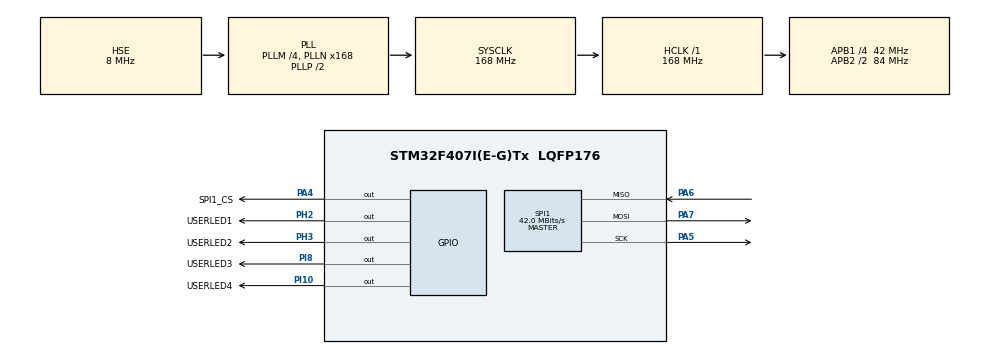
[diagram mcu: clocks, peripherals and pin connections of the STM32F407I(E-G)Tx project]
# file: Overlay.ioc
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Mcu.Family=STM32F4
Mcu.Name=STM32F407I(E-G)Tx
Mcu.Package=LQFP176
NVIC.PriorityGroup=NVIC_PRIORITYGROUP_4
PA13.Mode=Serial_Wire
PA13.Signal=SYS_JTMS-SWDIO
PA14.Mode=Serial_Wire
PA14.Signal=SYS_JTCK-SWCLK
PA4.GPIO_Label=SPI1_CS
PA4.PinState=GPIO_PIN_SET
PA4.Signal=GPIO_Output
PA5.Mode=Full_Duplex_Master
PA5.Signal=SPI1_SCK
PA6.Mode=Full_Duplex_Master
PA6.Signal=SPI1_MISO
PA7.Mode=Full_Duplex_Master
PA7.Signal=SPI1_MOSI
PH0-OSC_IN.Mode=HSE-External-Oscillator
PH0-OSC_IN.Signal=RCC_OSC_IN
PH1-OSC_OUT.Mode=HSE-External-Oscillator
PH1-OSC_OUT.Signal=RCC_OSC_OUT
PH2.GPIO_Label=USERLED1
PH2.Signal=GPIO_Output
PH3.GPIO_Label=USERLED2
PH3.Signal=GPIO_Output
PI10.GPIO_Label=USERLED4
PI10.Signal=GPIO_Output
PI8-\ ANTI\ TAMP2.GPIO_Label=USERLED3
PI8-\ ANTI\ TAMP2.Signal=GPIO_Output
ProjectManager.HeapSize=0x200
ProjectManager.StackSize=0x400
ProjectManager.TargetToolchain=Makefile
RCC.48MHZClocksFreq_Value=84000000
RCC.AHBFreq_Value=168000000
RCC.APB1CLKDivider=RCC_HCLK_DIV4
RCC.APB1Freq_Value=42000000
RCC.APB1TimFreq_Value=84000000
RCC.APB2CLKDivider=RCC_HCLK_DIV2
RCC.APB2Freq_Value=84000000
RCC.APB2TimFreq_Value=168000000
RCC.CortexFreq_Value=168000000
RCC.HCLKFreq_Value=168000000
RCC.HSE_VALUE=8000000
RCC.HSI_VALUE=16000000
RCC.LSE_VALUE=32768
RCC.PLLM=4
RCC.PLLN=168
RCC.PLLSourceVirtual=RCC_PLLSOURCE_HSE
RCC.SYSCLKFreq_VALUE=168000000
RCC.SYSCLKSource=RCC_SYSCLKSOURCE_PLLCLK
RCC.VCOOutputFreq_Value=336000000
SPI1.CalculateBaudRate=42.0 MBits/s
SPI1.Direction=SPI_DIRECTION_2LINES
SPI1.Mode=SPI_MODE_MASTER
SPI1.VirtualType=VM_MASTER
board=custom

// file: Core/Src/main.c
/* USER CODE BEGIN Header */
/**
  ******************************************************************************
  * @file           : main.c
  * @brief          : Main program body
  ******************************************************************************
  * @attention
  *
  * Copyright (c) 2025 STMicroelectronics.
  * All rights reserved.
  *
  * This software is licensed under terms that can be found in the LICENSE file
  * in the root directory of this software component.
  * If no LICENSE file comes with this software, it is provided AS-IS.
  *
  ******************************************************************************
  */
/* USER CODE END Header */
#include "main.h"
#include "spi.h"
#include "gpio.h"

/* USER CODE BEGIN Includes */
#include <stddef.h>
#include <string.h>

#include "../../AT45DBxx/AT45DBxx.h"
/* USER CODE END Includes */

void SystemClock_Config(void);
/* USER CODE BEGIN PFP */
typedef enum {
  ERR_RD_ID = 0,
  ERR_GT_ADDR,
  ERR_WR,
  ERR_RD
} error_t;

#define N_REGIONS	1	// # of overlay regions in RAM
#define N_OVLY		4	// Total # of overlays (in all regions)

#define OVERLAY(region,ov,sym)	{ region, &ov, &__load_start_ ## sym, &__load_stop_ ## sym, 0, sym }
#define LOADREF(sym) __load_start_ ## sym, __load_stop_ ## sym

extern unsigned long overlay1;	// Provides address of overlay region 1

// Function load addresses
extern char LOADREF(fee), LOADREF(fie), LOADREF(foo), LOADREF(fum);

/*********************************************************************
 * Overlayed functions
 *********************************************************************/
 int fee(int arg) __attribute__((noinline,section(".ov_fee")));
 int fie(int arg) __attribute__((noinline,section(".ov_fie")));
 int foo(int arg) __attribute__((noinline,section(".ov_foo")));
 int fum(int arg) __attribute__((noinline,section(".ov_fum")));

/*********************************************************************
 * Overlay Table and macros
 *********************************************************************/

 typedef struct {
	short		regionx;// Overlay region index
	void		*vma;	// Overlay's mapped address
	char		*start;	// Load start address
	char		*stop;	// Load stop address
	unsigned long	size;	// Size in bytes
	void		*func;	// Function pointer
} s_overlay;

// Overlay table:
static s_overlay overlays[N_OVLY] = {
	OVERLAY(0, overlay1, fee),
	OVERLAY(0, overlay1, fie),
	OVERLAY(0, overlay1, foo),
	OVERLAY(0, overlay1, fum)
};

// Overlay cache:
static s_overlay *cur_overlay[N_REGIONS] = { 0 };

/*********************************************************************
 * Overlay lookup: Returns func ptr, after copying code if necessary
 *********************************************************************/

static void *module_lookup (void *module) {
	unsigned regionx;
	s_overlay *ovl = 0;

	// std_printf("module_lookup(%p):\n",module);

	for ( unsigned ux=0; ux<N_OVLY; ++ux ) {
		if ( overlays[ux].start == module ) {
			regionx = overlays[ux].regionx;
			ovl = &overlays[ux];
			break;
		}
	}

	if ( !ovl )
		return 0;		// Not found

	if ( !cur_overlay[regionx] || cur_overlay[regionx] != ovl ) {
		if ( ovl->size == 0 )
			ovl->size = (char *)ovl->stop - (char *)ovl->start;
		cur_overlay[regionx] = ovl;
		memcpy(ovl->vma,ovl->start,ovl->size);
	}
	return ovl->func;
}

/* USER CODE END PFP */

/* USER CODE BEGIN 0 */
void error_handler (error_t err)
{
  const error_t error = err;
  UNUSED (error);
  HAL_GPIO_WritePin (USERLED1_GPIO_Port, USERLED1_Pin, GPIO_PIN_SET);
  HAL_GPIO_WritePin (USERLED2_GPIO_Port, USERLED2_Pin, GPIO_PIN_RESET);
  HAL_GPIO_WritePin (USERLED3_GPIO_Port, USERLED3_Pin, GPIO_PIN_SET);
  HAL_GPIO_WritePin (USERLED4_GPIO_Port, USERLED4_Pin, GPIO_PIN_RESET);
  while (1) {

  }
}
/* USER CODE END 0 */

int main(void)
{

  /* MCU Configuration--------------------------------------------------------*/

  /* Reset of all peripherals, Initializes the Flash interface and the Systick. */
  HAL_Init();

  /* Configure the system clock */
  SystemClock_Config();

  /* Initialize all configured peripherals */
  MX_GPIO_Init();
  MX_SPI1_Init();
  /* USER CODE BEGIN 2 */

  // Initialized
  at45dbxx_init (&hspi1, SPI1_CS_GPIO_Port, SPI1_CS_Pin);

  // Read ID
  const size_t id_num = 5;
  uint8_t at45dbxx_id[id_num];
  memset (at45dbxx_id, 0, id_num);

  if (!at45dbxx_rd_id (at45dbxx_id, id_num))
    error_handler (ERR_RD_ID);

  HAL_Delay (500);

  uint8_t tx_test_message[] = "Test message";
  const size_t len_message = sizeof (tx_test_message);
  uint8_t rx_test_message[len_message];
  memset (rx_test_message, 0, len_message);

  at45dbxx_config_t at45dbxx_config_wr = { .opcode = AT45DBXX_OPCODE_WR_PAGE_ON_BUF1, .addr = 0x123, .msg = tx_test_message, .msg_len = len_message };
  at45dbxx_config_t at45dbxx_config_rd = { .opcode = AT45DBXX_OPCODE_CONT_ARR_RD_HF, .addr = 0x123, .msg = rx_test_message, .msg_len = len_message };

  // Write
  if (!at45dbxx_wr_data (&at45dbxx_config_wr))
    error_handler (ERR_WR);

  HAL_Delay (500);

  // Read
  if (!at45dbxx_rd_data (&at45dbxx_config_rd))
    error_handler (ERR_RD);

  HAL_Delay (500);
  /* USER CODE END 2 */

  /* Infinite loop */
  /* USER CODE BEGIN WHILE */
  while (1)
  {
    HAL_GPIO_TogglePin (USERLED1_GPIO_Port, USERLED1_Pin);
    HAL_Delay (300);
    HAL_GPIO_TogglePin (USERLED2_GPIO_Port, USERLED2_Pin);
    HAL_Delay (300);
    HAL_GPIO_TogglePin (USERLED3_GPIO_Port, USERLED3_Pin);
    HAL_Delay (300);
    HAL_GPIO_TogglePin (USERLED4_GPIO_Port, USERLED4_Pin);
    HAL_Delay (300);
    /* USER CODE END WHILE */

  }
}

void SystemClock_Config(void)
{
  RCC_OscInitTypeDef RCC_OscInitStruct = {0};
  RCC_ClkInitTypeDef RCC_ClkInitStruct = {0};

  /** Configure the main internal regulator output voltage
  */
  __HAL_RCC_PWR_CLK_ENABLE();
  __HAL_PWR_VOLTAGESCALING_CONFIG(PWR_REGULATOR_VOLTAGE_SCALE1);

  /** Initializes the RCC Oscillators according to the specified parameters
  * in the RCC_OscInitTypeDef structure.
  */
  RCC_OscInitStruct.OscillatorType = RCC_OSCILLATORTYPE_HSE;
  RCC_OscInitStruct.HSEState = RCC_HSE_ON;
  RCC_OscInitStruct.PLL.PLLState = RCC_PLL_ON;
  RCC_OscInitStruct.PLL.PLLSource = RCC_PLLSOURCE_HSE;
  RCC_OscInitStruct.PLL.PLLM = 4;
  RCC_OscInitStruct.PLL.PLLN = 168;
  RCC_OscInitStruct.PLL.PLLP = RCC_PLLP_DIV2;
  RCC_OscInitStruct.PLL.PLLQ = 4;
  if (HAL_RCC_OscConfig(&RCC_OscInitStruct) != HAL_OK)
  {
    Error_Handler();
  }

  /** Initializes the CPU, AHB and APB buses clocks
  */
  RCC_ClkInitStruct.ClockType = RCC_CLOCKTYPE_HCLK|RCC_CLOCKTYPE_SYSCLK
                              |RCC_CLOCKTYPE_PCLK1|RCC_CLOCKTYPE_PCLK2;
  RCC_ClkInitStruct.SYSCLKSource = RCC_SYSCLKSOURCE_PLLCLK;
  RCC_ClkInitStruct.AHBCLKDivider = RCC_SYSCLK_DIV1;
  RCC_ClkInitStruct.APB1CLKDivider = RCC_HCLK_DIV4;
  RCC_ClkInitStruct.APB2CLKDivider = RCC_HCLK_DIV2;

  if (HAL_RCC_ClockConfig(&RCC_ClkInitStruct, FLASH_LATENCY_5) != HAL_OK)
  {
    Error_Handler();
  }
}

/* USER CODE BEGIN 4 */
/*********************************************************************
 * Overlay function fee()
 *********************************************************************/

 int fee (int arg) {
   static const char format[]
     __attribute__((section(".ov_fee_static")))
     = "***********\n"
       "fee(0x%04X)\n"
       "***********\n";

   // std_printf(format,arg);
   return arg + 0x0001;
 }

 /*********************************************************************
  * Overlay function fie()
  *********************************************************************/

 int fie (int arg) {
   // std_printf("fie(0x%04X)\n",arg);
   return arg + 0x0010;
 }

 /*********************************************************************
  * Overlay function foo()
  *********************************************************************/

 int foo (int arg) {
   // std_printf("foo(0x%04X)\n",arg);
   return arg + 0x0200;
 }

 /*********************************************************************
  * Overlay function fum()
  *********************************************************************/

 int fum (int arg) {
   // std_printf("fum(0x%04X)\n",arg);
   return arg + 0x3000;
 }

 /*********************************************************************
 * Stub functions for calling the overlay functions:
 *********************************************************************/

static int
fee_stub(int arg) {
	int (*feep)(int arg) = module_lookup(&__load_start_fee);

	return feep(arg);
}

static int
fie_stub(int arg) {
	int (*fiep)(int arg) = module_lookup(&__load_start_fie);

	return fiep(arg);
}

static int
foo_stub(int arg) {
	int (*foop)(int arg) = module_lookup(&__load_start_foo);

	return foop(arg);
}

static int
fum_stub(int arg) {
	int (*fump)(int arg) = module_lookup(&__load_start_fum);

	return fump(arg);
}
/* USER CODE END 4 */

void Error_Handler(void)
{
  __disable_irq();
  while (1)
  {
  }
}
